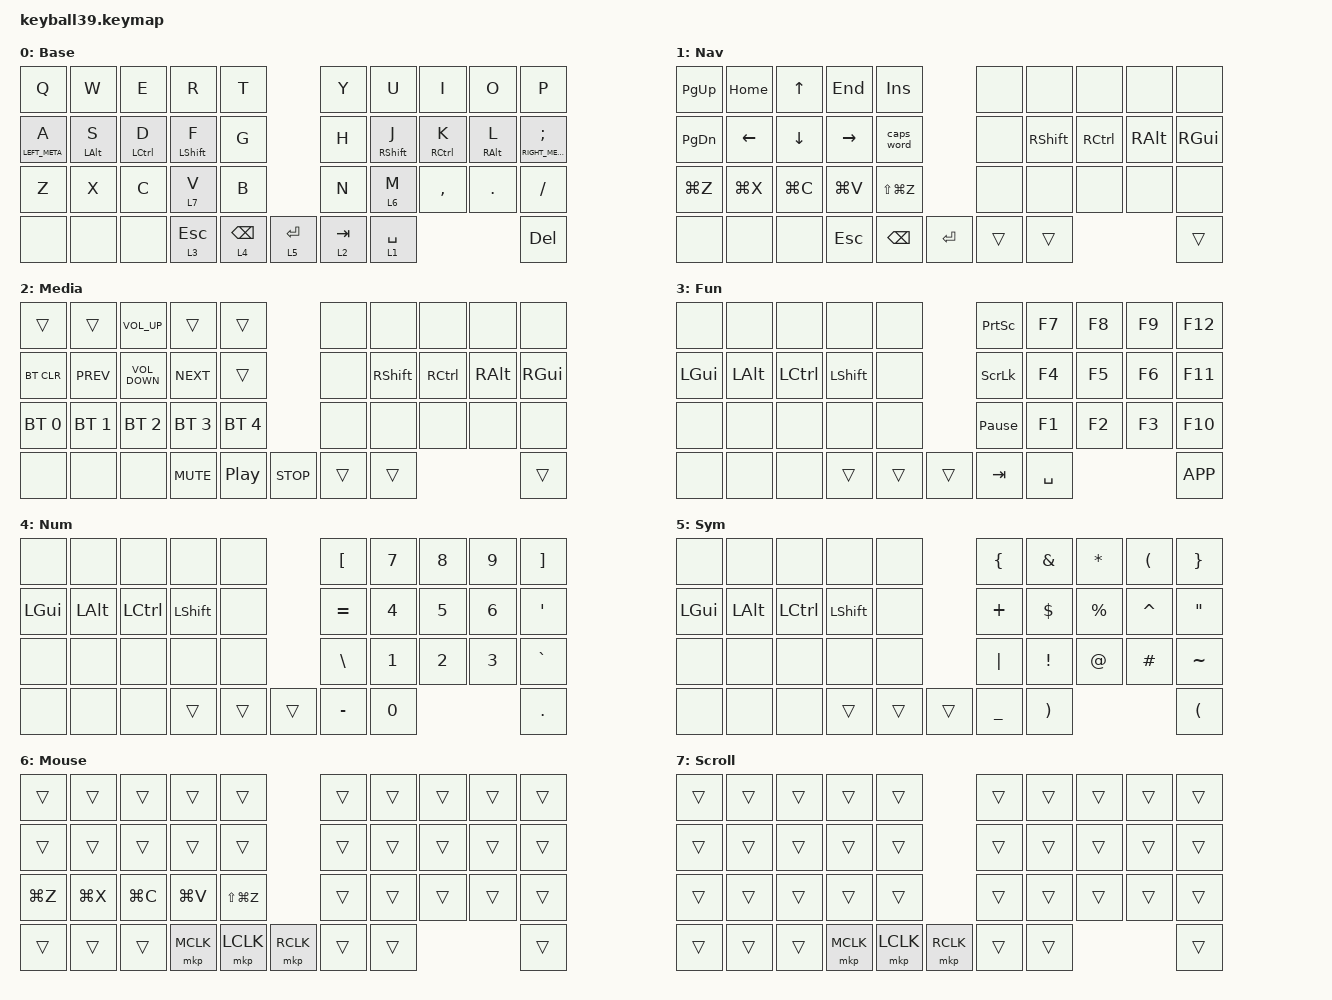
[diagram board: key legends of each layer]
#include <behaviors/mouse_keys.dtsi>
#include <dt-bindings/zmk/mouse.h>
#include <input/processors.dtsi>
#include <behaviors.dtsi>
#include <dt-bindings/zmk/bt.h>
#include <dt-bindings/zmk/keys.h>
#include <dt-bindings/zmk/pointing.h>
#include <dt-bindings/zmk/input_transform.h>

/ {
    behaviors {
        hml: hml {
            compatible = "zmk,behavior-hold-tap";
            label = "HML";
            bindings = <&kp>, <&kp>;

            #binding-cells = <2>;
            tapping-term-ms = <200>;
            quick-tap-ms = <175>;
            require-prior-idle-ms = <150>;
            flavor = "balanced";
            hold-trigger-on-release;
            hold-trigger-key-positions = <33 34 35 5 6 7 8 9 15 16 17 18 19 25 26 27 28 29 37 38 36>;
        };

        hmr: hmr {
            compatible = "zmk,behavior-hold-tap";
            label = "HMR";
            bindings = <&kp>, <&kp>;

            #binding-cells = <2>;
            tapping-term-ms = <200>;
            quick-tap-ms = <175>;
            require-prior-idle-ms = <150>;
            flavor = "balanced";
            hold-trigger-on-release;
            hold-trigger-key-positions = <0 1 2 3 4 10 11 12 13 14 21 22 23 24 20 33 34 35 36 37 38>;
        };
    };

    trackball_listener {
        slow_pointer {
            layers = <6>;
            input-processors = <&zip_xy_scaler 1 2>;
        };

        scroll {
            layers = <7>;
            input-processors = <&zip_xy_transform INPUT_TRANSFORM_Y_INVERT &zip_xy_scaler 1 8 &zip_xy_to_scroll_mapper  &zip_scroll_scaler 1 8>;
        };
   };

    keymap {
        compatible = "zmk,keymap";

        default {
            label = "Base";
            bindings = <
&kp Q             &kp W            &kp E         &kp R              &kp T                                    &kp Y      &kp U               &kp I         &kp O             &kp P
&hml LEFT_META A  &hml LEFT_ALT S  &hml LCTRL D  &hml LEFT_SHIFT F  &kp G                                    &kp H      &hmr RIGHT_SHIFT J  &hmr RCTRL K  &hmr RIGHT_ALT L  &hmr RIGHT_META SEMI
&kp Z             &kp X            &kp C         &lt 7 V            &kp B                                    &kp N      &lt 6 M             &kp COMMA     &kp DOT           &kp SLASH
&none             &none            &none         &lt 3 ESCAPE       &lt 4 BACKSPACE  &lt 5 ENTER  &lt 2 TAB  &lt 1 SPACE                                                    &kp DELETE
            >;
        };

        nav {
            label = "Nav";
            bindings = <
&kp PG_UP      &kp HOME   &kp UP     &kp END     &kp INS                           &none   &none      &none      &none     &none
&kp PG_DN      &kp LEFT   &kp DOWN   &kp RIGHT   &caps_word                        &none   &kp RSHFT  &kp RCTRL  &kp RALT  &kp RGUI
&kp LG(Z)      &kp LG(X)  &kp LG(C)  &kp LG(V)   &kp LS(LG(Z))                     &none   &none      &none      &none     &none
&none          &none      &none      &kp ESCAPE  &kp BACKSPACE  &kp ENTER  &trans  &trans                                  &trans
            >;
        };

        media {
            label = "Media";
            bindings = <
&trans        &trans        &kp C_VOLUME_UP    &trans        &trans                        &none   &none      &none      &none     &none
&bt BT_CLR    &kp C_PREV    &kp C_VOLUME_DOWN  &kp C_NEXT    &trans                        &none   &kp RSHFT  &kp RCTRL  &kp RALT  &kp RGUI
&bt BT_SEL 0  &bt BT_SEL 1  &bt BT_SEL 2       &bt BT_SEL 3  &bt BT_SEL 4                  &none   &none      &none      &none     &none
&none         &none         &none              &kp C_MUTE    &kp C_PP  &kp C_STOP  &trans  &trans                                  &trans
            >;
        };

        fun {
            label = "Fun";
            bindings = <
&none     &none     &none      &none      &none                    &kp PSCRN         &kp F7  &kp F8  &kp F9  &kp F12
&kp LGUI  &kp LALT  &kp LCTRL  &kp LSHFT  &none                    &kp SLCK          &kp F4  &kp F5  &kp F6  &kp F11
&none     &none     &none      &none      &none                    &kp PAUSE_BREAK   &kp F1  &kp F2  &kp F3  &kp F10
&none     &none     &none      &trans     &trans  &trans  &kp TAB  &kp SPACE                                 &kp K_APP
            >;
        };

        num {
            label = "Num";
            bindings = <
&none     &none     &none      &none      &none                      &kp LBKT   &kp N7  &kp N8  &kp N9  &kp RBKT
&kp LGUI  &kp LALT  &kp LCTRL  &kp LSHFT  &none                      &kp EQUAL  &kp N4  &kp N5  &kp N6  &kp SQT
&none     &none     &none      &none      &none                      &kp BSLH   &kp N1  &kp N2  &kp N3  &kp GRAVE
&none     &none     &none      &trans     &trans  &trans  &kp MINUS  &kp N0                             &kp DOT
            >;
        };

        sym {
            label = "Sym";
            bindings = <
&none     &none     &none      &none      &none                      &kp LEFT_BRACE  &kp AMPS    &kp ASTRK    &kp LEFT_PARENTHESIS  &kp RIGHT_BRACE
&kp LGUI  &kp LALT  &kp LCTRL  &kp LSHFT  &none                      &kp PLUS        &kp DOLLAR  &kp PERCENT  &kp CARET             &kp DQT
&none     &none     &none      &none      &none                      &kp PIPE        &kp EXCL    &kp AT       &kp POUND             &kp TILDE
&none     &none     &none      &trans     &trans  &trans  &kp UNDER  &kp RIGHT_PARENTHESIS                                          &kp LEFT_PARENTHESIS
            >;
        };

        mouse {
            label = "Mouse";
            bindings = <
&trans     &trans     &trans     &trans     &trans                        &trans  &trans  &trans  &trans  &trans
&trans     &trans     &trans     &trans     &trans                        &trans  &trans  &trans  &trans  &trans
&kp LG(Z)  &kp LG(X)  &kp LG(C)  &kp LG(V)  &kp LS(LG(Z))                 &trans  &trans  &trans  &trans  &trans
&trans     &trans     &trans     &mkp MCLK  &mkp LCLK  &mkp RCLK  &trans  &trans                          &trans
            >;
        };

        scroll {
            label = "Scroll";
            bindings = <
&trans     &trans     &trans     &trans     &trans                        &trans  &trans  &trans  &trans  &trans
&trans     &trans     &trans     &trans     &trans                        &trans  &trans  &trans  &trans  &trans
&trans     &trans     &trans     &trans     &trans                        &trans  &trans  &trans  &trans  &trans
&trans     &trans     &trans     &mkp MCLK  &mkp LCLK  &mkp RCLK  &trans  &trans                          &trans
            >;
        };
    };
};
